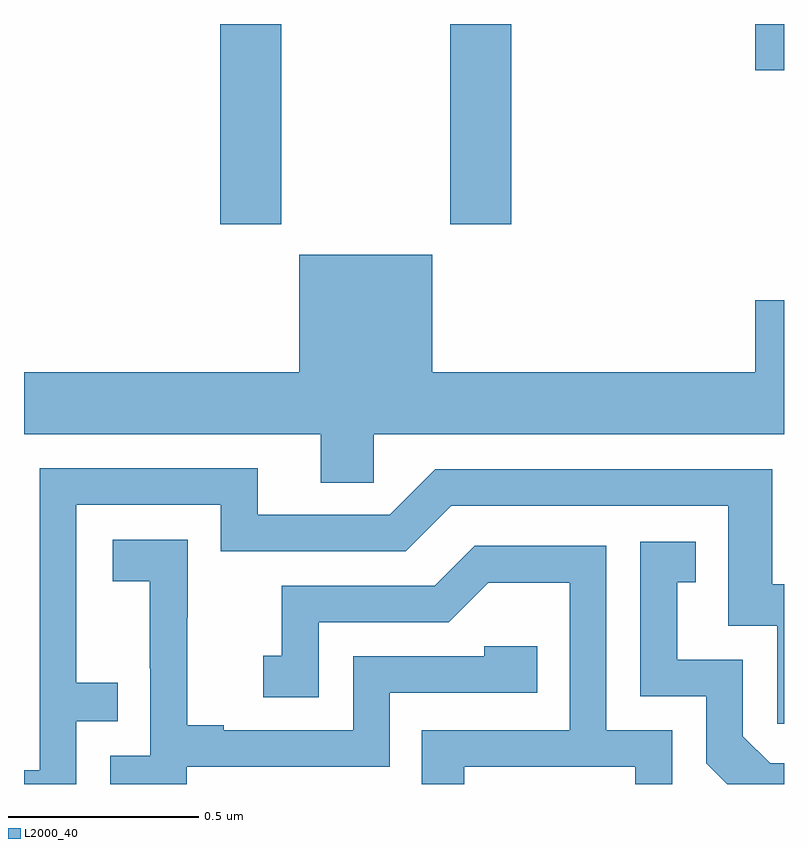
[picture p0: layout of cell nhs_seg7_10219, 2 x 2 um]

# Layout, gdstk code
import gdstk
lib = gdstk.Library(unit=1e-6, precision=1e-09)
def R(c, l, rs):  # rectangles x0, y0, x1, y1
    for r in rs: c.add(gdstk.rectangle(r[:2], r[2:], *l))
def P(c, l, *ps):  # polygons
    for p in ps: c.add(gdstk.Polygon(p, *l))
L2000_40 = (2000, 40)

nhs_seg7_10219 = lib.new_cell('nhs_seg7_10219')
R(nhs_seg7_10219, L2000_40, [(247.517,1030.473,247.677,1031), (248.122,1030.473,248.282,1031), (248.924,1030.878,249,1031)])
P(nhs_seg7_10219, L2000_40, [(247.92,1029.92),(249,1029.92),(249,1030.273),(248.924,1030.273),(248.924,1030.084),(248.074,1030.084),(248.074,1030.393),(247.724,1030.393),(247.724,1030.084),(247,1030.084),(247,1029.92),(247.781,1029.92),(247.781,1029.793),(247.92,1029.793)],
  [(247.137,1029.165),(247.247,1029.165),(247.247,1029.266),(247.137,1029.266),(247.137,1029.735),(247.518,1029.735),(247.518,1029.612),(248.004,1029.612),(248.124,1029.732),(248.853,1029.732),(248.853,1029.417),(248.982,1029.417),(248.982,1029.159),(249,1029.159),(249,1029.526),(248.969,1029.526),(248.969,1029.828),(248.082,1029.828),(247.962,1029.708),(247.615,1029.708),(247.615,1029.831),(247.041,1029.831),(247.041,1029.036),(247,1029.036),(247,1029),(247.137,1029)],
  [(247.428,1029.045),(247.962,1029.045),(247.962,1029.24),(248.351,1029.24),(248.351,1029.363),(248.211,1029.363),(248.211,1029.336),(247.866,1029.336),(247.866,1029.141),(247.525,1029.141),(247.525,1029.154),(247.43,1029.154),(247.43,1029.437),(247.431,1029.437),(247.431,1029.643),(247.233,1029.643),(247.233,1029.533),(247.331,1029.533),(247.331,1029.305),(247.332,1029.305),(247.332,1029.075),(247.227,1029.075),(247.227,1029),(247.428,1029)],
  [(249,1029.054),(248.964,1029.054),(248.892,1029.126),(248.892,1029.327),(248.719,1029.327),(248.719,1029.531),(248.768,1029.531),(248.768,1029.637),(248.622,1029.637),(248.622,1029.231),(248.796,1029.231),(248.796,1029.054),(248.851,1029),(249,1029)],
  [(248.158,1029.045),(248.609,1029.045),(248.609,1029),(248.706,1029),(248.706,1029.141),(248.532,1029.141),(248.532,1029.627),(248.186,1029.627),(248.081,1029.522),(247.678,1029.522),(247.678,1029.337),(247.629,1029.337),(247.629,1029.228),(247.776,1029.228),(247.776,1029.426),(248.118,1029.426),(248.222,1029.53),(248.436,1029.53),(248.436,1029.141),(248.047,1029.141),(248.047,1029),(248.158,1029)])

lib.write_gds('nhs_seg7_10219.gds')
